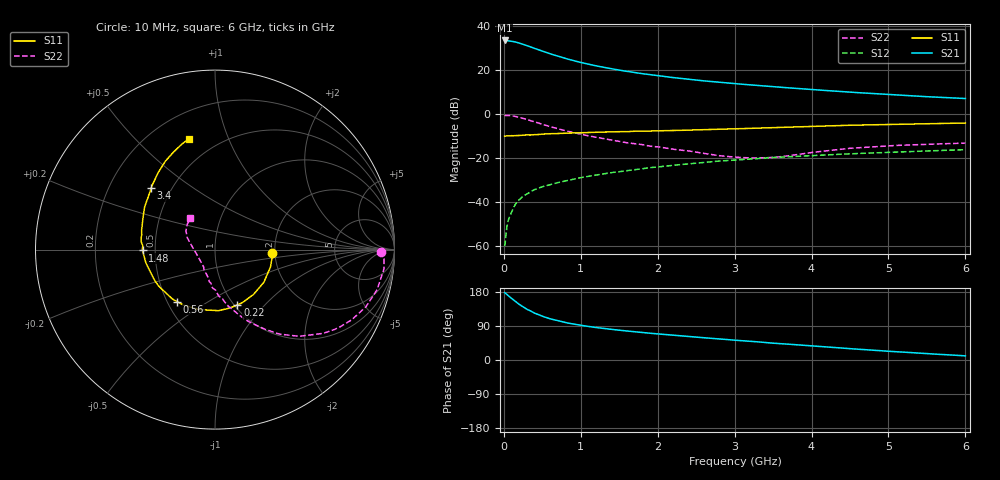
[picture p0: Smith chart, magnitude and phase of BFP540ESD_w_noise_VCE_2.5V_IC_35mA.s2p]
! Infineon Technologies  Discrete & RF Semiconductors
! BFP540ESD
! VCE =  2.5 V,  IC =  35 mA
! Common Emitter S-Parameters:  Nov 2015
# GHz  S  MA  R  50
!  f  S11  S21  S12  S22
! GHz  MAG  ANG  MAG  ANG  MAG  ANG  MAG  ANG
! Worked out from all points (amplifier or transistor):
!   210 points, 10 MHz to 6 GHz, reference 50 ohm
!   highest |S21| = 33.6 dB at 10 MHz (marker M1)
!   |S21| within 3 dB of that: start of sweep to 351 MHz
!   unconditionally stable (mu >= 1): start of sweep to 15.5 MHz; 1.73 GHz to end of sweep
!   at 185 MHz: K = 0.29, MSG = 36.0 dB, |S12| = -39.4 dB
!   at 1.52 GHz: K = 0.97, MSG = 23.0 dB, |S12| = -26.0 dB
!   at 6 GHz: K = 1.10, MAG = 9.7 dB, |S12| = -16.1 dB
!   lowest NFmin = 1.52 dB at 900 MHz
!   S11 on the Smith chart (normalised r, x): 10 MHz: 1.93, -0.07; 220 MHz: 1.03, -0.72; 560 MHz: 0.56, -0.37; 1.48 GHz: 0.42, -0.01; 3.4 GHz: 0.39, +0.35; 6 GHz: 0.35, +0.73
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0.01  0.3183 -3.1  48.04 177.8  0.001 109.6  0.9237 -0.8
0.05  0.3239 -17.3  47.45 171.1  0.0035 88.0  0.9479 -6.4
0.095  0.326 -32.2  46.41 163.4  0.0057 85.3  0.9314 -13.1
0.135  0.3263 -44.8  44.88 156.8  0.0081 78.9  0.9073 -18.6
0.185  0.3298 -59.1  42.62 149.1  0.0107 75.7  0.8685 -25.1
0.22  0.3322 -68.0  40.85 144.2  0.0123 74.1  0.8377 -29.3
0.26  0.3359 -77.7  38.77 138.8  0.014 72.1  0.8012 -33.7
0.3  0.3407 -86.7  36.72 133.9  0.0154 69.8  0.7627 -37.7
0.4  0.3453 -104.5  31.68 123.6  0.0194 66.2  0.6725 -45.9
0.5  0.3557 -119.4  27.52 115.3  0.0225 65.2  0.5917 -52.7
0.56  0.3586 -126.2  25.31 111.6  0.024 64.4  0.551 -55.6
0.7  0.3661 -139.7  21.14 103.5  0.0279 63.2  0.4709 -62.4
0.8  0.3744 -147.7  18.73 98.8  0.0305 63.6  0.4237 -66.7
1.02  0.3814 -160.8  14.91 90.9  0.0368 62.8  0.3463 -73.8
1.2  0.3923 -169.3  12.69 85.7  0.0415 61.2  0.3005 -79.1
1.48  0.4037 -179.3  10.29 79.1  0.049 60.3  0.2466 -86.8
2.02  0.4228 165.4  7.501 68.5  0.064 57.3  0.1806 -100.1
3.1  0.4736 141.8  4.841 50.9  0.0936 48.1  0.1038 -140.1
3.4  0.4935 136.1  4.395 46.2  0.1016 45.3  0.1027 -159.2
4.1  0.5389 124.9  3.572 35.7  0.1171 38.6  0.1416 166.0
5.1  0.5945 112.0  2.772 21.9  0.1384 29.1  0.1961 144.9
6  0.6349 103.2  2.292 10.9  0.1571 21.9  0.2218 128.6
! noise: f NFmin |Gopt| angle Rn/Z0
0.9  1.52  0.41  -139  0.13
1.8  1.66  0.44  -142  0.13
2.4  1.7  0.44  -132  0.15
3  1.82  0.46  -125  0.19
4  1.87  0.55  -103  0.33
5  2.01  0.6  -88  0.51
6  2.34  0.59  -85  0.77
